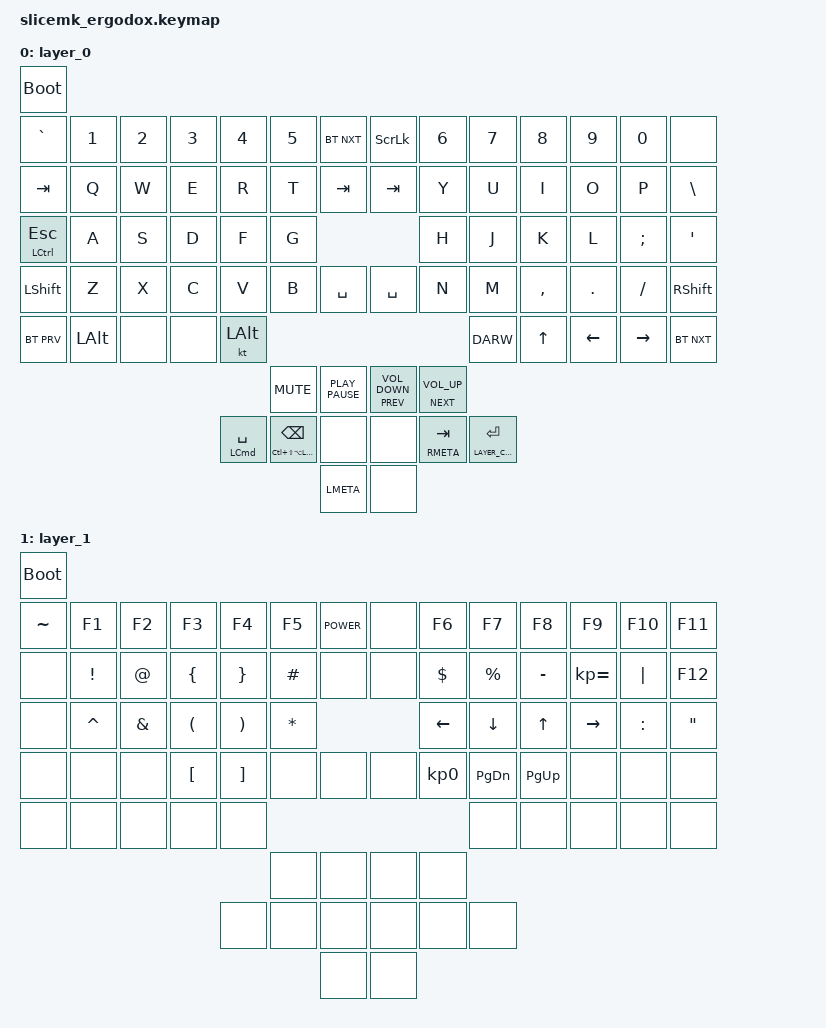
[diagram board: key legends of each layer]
#include <behaviors.dtsi>
#include <dt-bindings/zmk/bt.h>
#include <dt-bindings/zmk/keys.h>
#include <dt-bindings/zmk/outputs.h>
#include <dt-bindings/zmk/rgb.h>

#define LAYER_DEFAULT 0
#define LAYER_CODING 1



/ {
	keymap {
		compatible = "zmk,keymap";
		layer_0 {
			bindings = <
				&bootloader
				&kp GRAV      &kp NUMBER_1 &kp NUMBER_2 &kp NUMBER_3 &kp NUMBER_4   &kp NUMBER_5              &bt BT_NXT       &kp SCROLLLOCK           &kp NUMBER_6        &kp NUMBER_7           &kp NUMBER_8 &kp NUMBER_9 &kp NUMBER_0  &none
				&kp TAB       &kp Q        &kp W        &kp E        &kp R          &kp T                     &kp TAB          &kp TAB                  &kp Y               &kp U                  &kp I        &kp O        &kp P         &kp BSLH
				&mt LCTRL ESC &kp A        &kp S        &kp D        &kp F          &kp G                                                               &kp H               &kp J                  &kp K        &kp L        &kp SEMICOLON &kp SINGLE_QUOTE
				&kp LSHIFT    &kp Z        &kp X        &kp C        &kp V          &kp B                     &kp SPACE        &kp SPACE                &kp N               &kp M                  &kp CMMA     &kp DOT      &kp FSLH      &kp RSHIFT
				&bt BT_PRV    &kp LALT     &none        &none        &kt LALT                                                                                               &kp DARW               &kp UP       &kp LEFT     &kp RIGHT     &bt BT_NXT
				                                                                    &kp C_MUTE                &kp K_PLAY_PAUSE &mt C_PREV C_VOLUME_DOWN &mt C_NEXT C_VOL_UP
				                                                     &mt LCMD SPACE &mt LC(LS(LA(LGUI))) BKSP &none            &none                    &mt RMETA TAB       &lt LAYER_CODING ENTER
				                                                                                              &kp LMETA        &none
			>;
		};
		layer_1 {
			bindings = <
				&bootloader
				&kp TILDE &kp F1          &kp F2        &kp F3               &kp F4                &kp F5       &kp C_POWER &none &kp F6          &kp F7        &kp F8      &kp F9       &kp F10   &kp F11
				&none     &kp EXCLAMATION &kp AT_SIGN   &kp LEFT_BRACE       &kp RIGHT_BRACE       &kp HASH     &none       &none &kp DOLLAR      &kp PERCENT   &kp MINUS   &kp KP_EQUAL &kp PIPE  &kp F12
				&none     &kp CARET       &kp AMPERSAND &kp LEFT_PARENTHESIS &kp RIGHT_PARENTHESIS &kp ASTERISK                   &kp LEFT        &kp DOWN      &kp UP      &kp RIGHT    &kp COLON &kp DOUBLE_QUOTES
				&none     &none           &none         &kp LEFT_BRACKET     &kp RIGHT_BRACKET     &none        &none       &none &kp KP_NUMBER_0 &kp PAGE_DOWN &kp PAGE_UP &none        &none     &none
				&none     &none           &none         &none                &none                                                                &none         &none       &none        &none     &none
				                                                                                   &none        &none       &none &none
				                                                             &none                 &none        &none       &none &none           &none
				                                                                                                &none       &none
			>;
		};
	};

};
